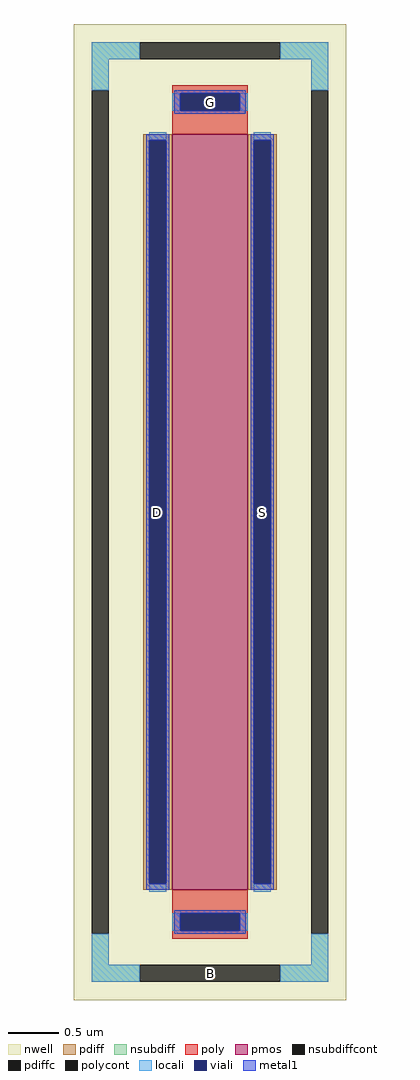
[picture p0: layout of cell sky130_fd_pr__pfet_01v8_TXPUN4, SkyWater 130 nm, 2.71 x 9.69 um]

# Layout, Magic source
magic
tech sky130A
magscale 1 2
<< nwell >>
rect -271 -969 271 969
<< pmos >>
rect -75 -750 75 750
<< pdiff >>
rect -133 738 -75 750
rect -133 -738 -121 738
rect -87 -738 -75 738
rect -133 -750 -75 -738
rect 75 738 133 750
rect 75 -738 87 738
rect 121 -738 133 738
rect 75 -750 133 -738
<< pdiffc >>
rect -121 -738 -87 738
rect 87 -738 121 738
<< nsubdiff >>
rect -235 899 -139 933
rect 139 899 235 933
rect -235 837 -201 899
rect 201 837 235 899
rect -235 -899 -201 -837
rect 201 -899 235 -837
rect -235 -933 -139 -899
rect 139 -933 235 -899
<< nsubdiffcont >>
rect -139 899 139 933
rect -235 -837 -201 837
rect 201 -837 235 837
rect -139 -933 139 -899
<< poly >>
rect -75 831 75 847
rect -75 797 -59 831
rect 59 797 75 831
rect -75 750 75 797
rect -75 -797 75 -750
rect -75 -831 -59 -797
rect 59 -831 75 -797
rect -75 -847 75 -831
<< polycont >>
rect -59 797 59 831
rect -59 -831 59 -797
<< locali >>
rect -235 899 -139 933
rect 139 899 235 933
rect -235 837 -201 899
rect 201 837 235 899
rect -75 797 -59 831
rect 59 797 75 831
rect -121 738 -87 754
rect -121 -754 -87 -738
rect 87 738 121 754
rect 87 -754 121 -738
rect -75 -831 -59 -797
rect 59 -831 75 -797
rect -235 -899 -201 -837
rect 201 -899 235 -837
rect -235 -933 -139 -899
rect 139 -933 235 -899
<< viali >>
rect -59 797 59 831
rect -121 -738 -87 738
rect 87 -738 121 738
rect -59 -831 59 -797
<< metal1 >>
rect -71 831 71 837
rect -71 797 -59 831
rect 59 797 71 831
rect -71 791 71 797
rect -127 738 -81 750
rect -127 -738 -121 738
rect -87 -738 -81 738
rect -127 -750 -81 -738
rect 81 738 127 750
rect 81 -738 87 738
rect 121 -738 127 738
rect 81 -750 127 -738
rect -71 -797 71 -791
rect -71 -831 -59 -797
rect 59 -831 71 -797
rect -71 -837 71 -831
<< labels >>
rlabel nsubdiffcont 0 -916 0 -916 0 B
port 13 nsew
rlabel pdiffc -104 0 -104 0 0 D
port 14 nsew
rlabel pdiffc 104 0 104 0 0 S
port 15 nsew
rlabel polycont 0 814 0 814 0 G
port 16 nsew
<< properties >>
string FIXED_BBOX -218 -916 218 916
string gencell sky130_fd_pr__pfet_01v8
string library sky130
string parameters w 7.5 l 0.75 m 1 nf 1 diffcov 100 polycov 100 guard 1 glc 1 grc 1 gtc 1 gbc 1 tbcov 100 rlcov 100 topc 1 botc 1 poverlap 0 doverlap 1 lmin 0.15 wmin 0.42 class mosfet compatible {sky130_fd_pr__pfet_01v8  sky130_fd_pr__pfet_01v8_lvt sky130_fd_pr__pfet_01v8_hvt  sky130_fd_pr__pfet_g5v0d10v5} full_metal 1 viasrc 100 viadrn 100 viagate 100 viagb 0 viagr 0 viagl 0 viagt 0 doports 1
<< end >>
